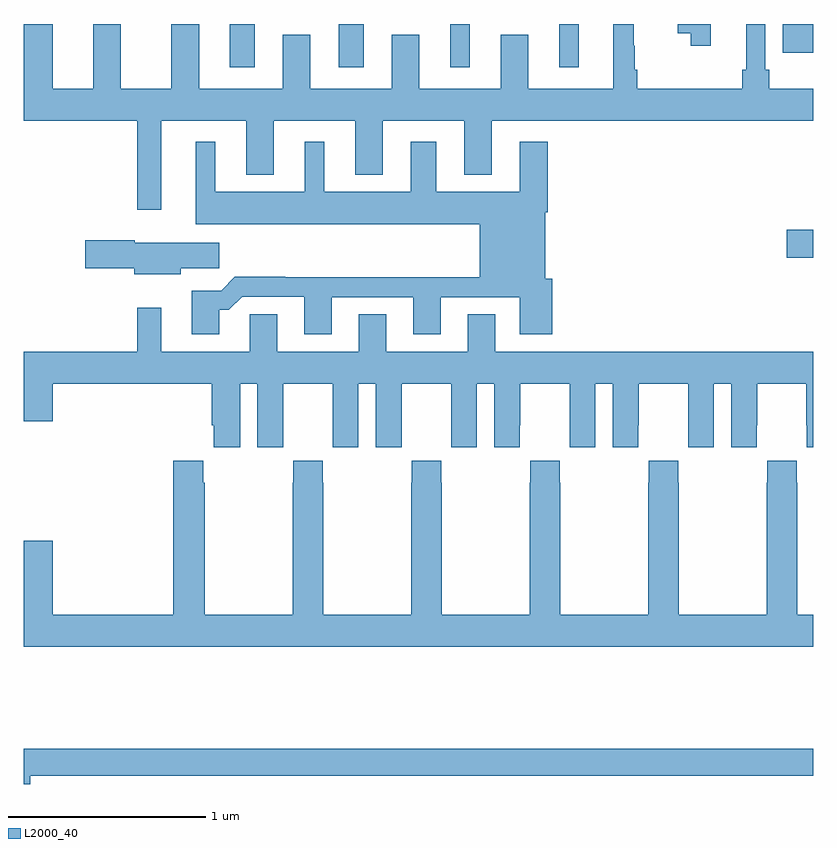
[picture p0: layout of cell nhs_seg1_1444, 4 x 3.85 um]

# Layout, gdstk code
import gdstk
lib = gdstk.Library(unit=1e-6, precision=1e-09)
def R(c, l, rs):  # rectangles x0, y0, x1, y1
    for r in rs: c.add(gdstk.rectangle(r[:2], r[2:], *l))
def P(c, l, *ps):  # polygons
    for p in ps: c.add(gdstk.Polygon(p, *l))
L2000_40 = (2000, 40)

nhs_seg1_1444 = lib.new_cell('nhs_seg1_1444')
R(nhs_seg1_1444, L2000_40, [(192.864,575.014,193,575.156), (190.043,575.979,190.171,576.199), (190.595,575.979,190.723,576.199), (191.162,575.979,191.26,576.199), (191.714,575.979,191.812,576.199), (192.845,576.054,193,576.199)])
P(nhs_seg1_1444, L2000_40, [(192.48,576.199),(192.314,576.199),(192.314,576.152),(192.379,576.152),(192.379,576.09),(192.48,576.09)],
  [(189.697,575.708),(190.127,575.708),(190.127,575.435),(190.267,575.435),(190.267,575.708),(190.679,575.708),(190.679,575.435),(190.819,575.435),(190.819,575.708),(191.231,575.708),(191.231,575.435),(191.371,575.435),(191.371,575.708),(193,575.708),(193,575.872),(192.776,575.872),(192.776,575.968),(192.756,575.968),(192.756,576.199),(192.659,576.199),(192.659,575.968),(192.64,575.968),(192.64,575.872),(192.109,575.872),(192.109,575.968),(192.094,575.968),(192.094,576.089),(192.091,576.089),(192.091,576.199),(191.987,576.199),(191.987,575.872),(191.557,575.872),(191.557,576.145),(191.417,576.145),(191.417,575.872),(191.005,575.872),(191.005,576.145),(190.865,576.145),(190.865,575.872),(190.453,575.872),(190.453,576.145),(190.313,576.145),(190.313,575.872),(189.889,575.872),(189.889,576.199),(189.749,576.199),(189.749,575.872),(189.493,575.872),(189.493,576.199),(189.353,576.199),(189.353,575.872),(189.148,575.872),(189.148,576.199),(189,576.199),(189,575.708),(189.576,575.708),(189.576,575.259),(189.697,575.259)],
  [(189.991,574.751),(190.04,574.751),(190.107,574.818),(190.421,574.818),(190.421,574.629),(190.561,574.629),(190.561,574.815),(190.973,574.815),(190.973,574.629),(191.113,574.629),(191.113,574.815),(191.513,574.815),(191.513,574.629),(191.678,574.629),(191.678,574.908),(191.641,574.908),(191.641,575.246),(191.654,575.246),(191.654,575.602),(191.513,575.602),(191.513,575.35),(191.089,575.35),(191.089,575.602),(190.961,575.602),(190.961,575.35),(190.522,575.35),(190.522,575.602),(190.424,575.602),(190.424,575.35),(189.97,575.35),(189.97,575.602),(189.872,575.602),(189.872,575.186),(191.309,575.186),(191.309,574.916),(190.325,574.916),(190.325,574.919),(190.07,574.919),(190,574.849),(189.851,574.849),(189.851,574.629),(189.991,574.629)],
  [(189.796,574.963),(189.991,574.963),(189.991,575.092),(189.564,575.092),(189.564,575.105),(189.312,575.105),(189.312,574.963),(189.56,574.963),(189.56,574.931),(189.796,574.931)],
  [(191.389,574.73),(191.249,574.73),(191.249,574.54),(190.837,574.54),(190.837,574.73),(190.697,574.73),(190.697,574.54),(190.285,574.54),(190.285,574.73),(190.146,574.73),(190.146,574.54),(189.697,574.54),(189.697,574.762),(189.576,574.762),(189.576,574.54),(189,574.54),(189,574.188),(189.148,574.188),(189.148,574.376),(189.953,574.376),(189.953,574.168),(189.962,574.168),(189.962,574.056),(190.096,574.056),(190.096,574.376),(190.184,574.376),(190.184,574.056),(190.314,574.056),(190.314,574.168),(190.315,574.168),(190.315,574.376),(190.565,574.376),(190.565,574.168),(190.566,574.168),(190.566,574.056),(190.696,574.056),(190.696,574.376),(190.784,574.376),(190.784,574.056),(190.914,574.056),(190.914,574.168),(190.915,574.168),(190.915,574.376),(191.165,574.376),(191.165,574.168),(191.166,574.168),(191.166,574.056),(191.296,574.056),(191.296,574.376),(191.384,574.376),(191.384,574.056),(191.514,574.056),(191.514,574.168),(191.515,574.168),(191.515,574.376),(191.765,574.376),(191.765,574.168),(191.766,574.168),(191.766,574.056),(191.896,574.056),(191.896,574.376),(191.984,574.376),(191.984,574.056),(192.114,574.056),(192.114,574.168),(192.115,574.168),(192.115,574.376),(192.365,574.376),(192.365,574.168),(192.366,574.168),(192.366,574.056),(192.496,574.056),(192.496,574.376),(192.584,574.376),(192.584,574.056),(192.714,574.056),(192.714,574.168),(192.715,574.168),(192.715,574.376),(192.965,574.376),(192.965,574.168),(192.966,574.168),(192.966,574.056),(193,574.056),(193,574.54),(191.389,574.54)],
  [(193,573.208),(192.918,573.208),(192.918,573.875),(192.915,573.875),(192.915,573.988),(192.765,573.988),(192.765,573.875),(192.763,573.875),(192.763,573.208),(192.318,573.208),(192.318,573.875),(192.315,573.875),(192.315,573.988),(192.165,573.988),(192.165,573.875),(192.163,573.875),(192.163,573.208),(191.718,573.208),(191.718,573.875),(191.715,573.875),(191.715,573.988),(191.565,573.988),(191.565,573.875),(191.563,573.875),(191.563,573.208),(191.118,573.208),(191.118,573.875),(191.115,573.875),(191.115,573.988),(190.965,573.988),(190.965,573.875),(190.963,573.875),(190.963,573.208),(190.518,573.208),(190.518,573.875),(190.515,573.875),(190.515,573.988),(190.365,573.988),(190.365,573.875),(190.363,573.875),(190.363,573.208),(189.918,573.208),(189.918,573.875),(189.911,573.875),(189.911,573.988),(189.758,573.988),(189.758,573.208),(189.148,573.208),(189.148,573.583),(189,573.583),(189,573.044),(193,573.044)],
  [(189.034,572.392),(193,572.392),(193,572.528),(189,572.528),(189,572.35),(189.034,572.35)])

lib.write_gds('nhs_seg1_1444.gds')
